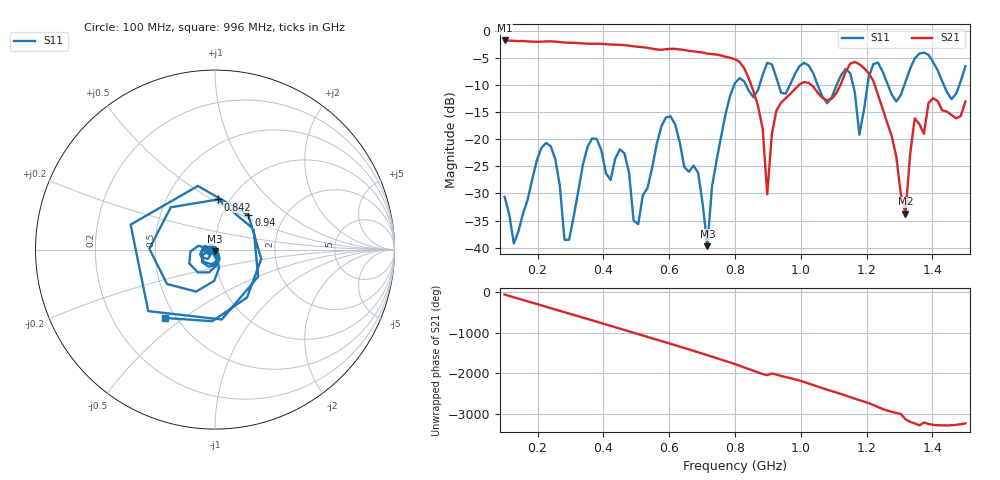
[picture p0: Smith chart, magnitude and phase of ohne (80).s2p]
! NanoVNA-App
! Date: 2025-09-26 09:56:01
! Start: 100MHz Stop: 1,5GHz Points: 101
! S-Parameter data: F S11 S21 S12 S22
# Hz S RI R 50
!  Frequency  S11_Real  S11_Imag  S21_Real  S21_Imag  S12_Real  S12_Imag  S22_Real  S22_Imag
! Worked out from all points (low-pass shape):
!   101 points, 100 MHz to 1.5 GHz, reference 50 ohm
!   highest |S21| = -1.79 dB at 100 MHz (marker M1); lowest = -33.7 dB at 1.318 GHz (marker M2)
!   |S21| within 3 dB of the highest: start of sweep to 771.5 MHz
!   lowest |S11| = -39.7 dB at 716 MHz (marker M3), VSWR 1.02, Z = 49.9 - j1.02 ohm
!   |S11| at or under -10 dB: start of sweep to 797.7 MHz; 833.3 MHz to 874.7 MHz (41.38 MHz wide, 4.85 % of centre); 1.051 GHz to 1.109 GHz (57.85 MHz wide, 5.36 % of centre) (the widest 3 of 7)
!   S12 and S22 are empty: the file has one direction only
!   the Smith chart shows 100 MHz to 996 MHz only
!   S11 on the Smith chart (normalised r, x): 100 MHz: 0.94, -0.01; 842 MHz: 0.88, +0.53; 940 MHz: 1.33, +0.55; 996 MHz: 0.44, -0.43
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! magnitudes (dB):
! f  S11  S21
! 100 MHz  -30.6  -1.8
! 128 MHz  -39.2  -1.9
! 226 MHz  -20.7  -2.0
! 296 MHz  -38.5  -2.2
! 338 MHz  -24.6  -2.3
! 464 MHz  -22.6  -2.6
! 506 MHz  -35.6  -3.0
! 576 MHz  -17.7  -3.5
! 688 MHz  -26.2  -3.9
! 716 MHz  -39.7  -4.2
! 800 MHz  -9.7  -5.3
! 842 MHz  -11.1  -8.8
! 898 MHz  -5.9  -30.2
! 940 MHz  -11.4  -13.2
! 996 MHz  -6.5  -9.9
! 1.038 GHz  -7.8  -10.3
! 1.178 GHz  -19.2  -6.2
! 1.22 GHz  -6.2  -9.2
! 1.276 GHz  -11.8  -19.4
! 1.318 GHz  -9.4  -33.7
! 1.346 GHz  -5.1  -16.2
! 1.5 GHz  -6.5  -13.0
